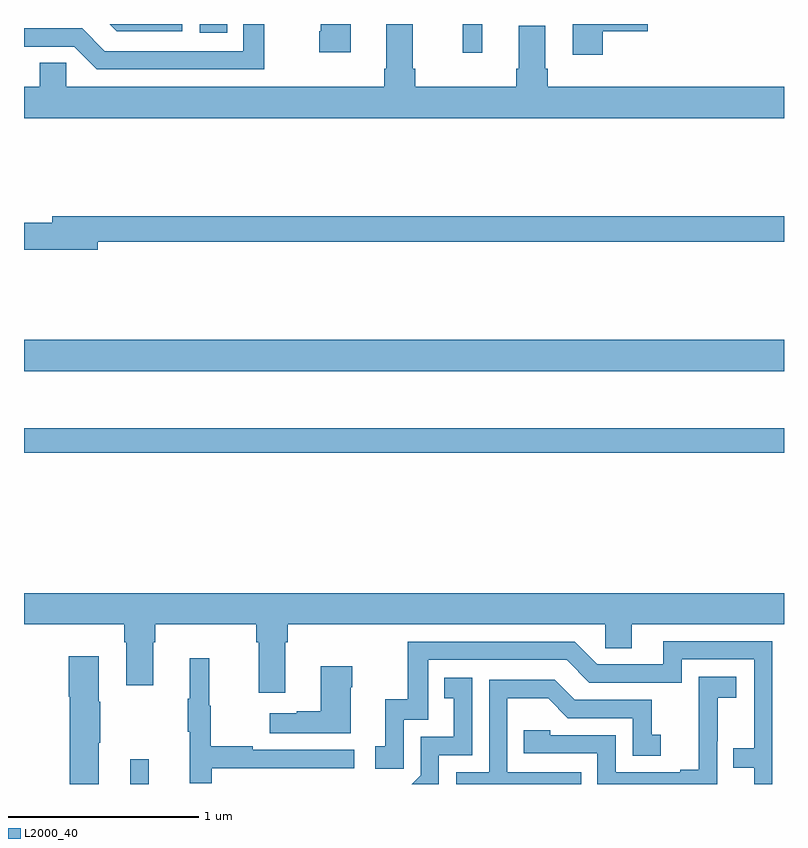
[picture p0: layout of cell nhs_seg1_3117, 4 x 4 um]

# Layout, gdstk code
import gdstk
lib = gdstk.Library(unit=1e-6, precision=1e-09)
def R(c, l, rs):  # rectangles x0, y0, x1, y1
    for r in rs: c.add(gdstk.rectangle(r[:2], r[2:], *l))
def P(c, l, *ps):  # polygons
    for p in ps: c.add(gdstk.Polygon(p, *l))
L2000_40 = (2000, 40)

nhs_seg1_3117 = lib.new_cell('nhs_seg1_3117')
R(nhs_seg1_3117, L2000_40, [(279.56,576.199,279.657,576.328), (279,577.942,283,578.071), (279,578.372,283,578.536), (281.308,580.047,281.411,580.199), (279.924,580.152,280.07,580.199)])
P(nhs_seg1_3117, L2000_40, [(283,579.868),(281.756,579.868),(281.756,579.964),(281.743,579.964),(281.743,580.189),(281.603,580.189),(281.603,579.964),(281.591,579.964),(281.591,579.868),(281.06,579.868),(281.06,579.964),(281.047,579.964),(281.047,580.199),(280.907,580.199),(280.907,579.964),(280.895,579.964),(280.895,579.868),(279.222,579.868),(279.222,579.995),(279.083,579.995),(279.083,579.868),(279,579.868),(279,579.704),(283,579.704)],
  [(280.72,580.199),(280.562,580.199),(280.562,580.162),(280.555,580.162),(280.555,580.05),(280.72,580.05)],
  [(280.264,580.199),(280.155,580.199),(280.155,580.056),(279.426,580.056),(279.306,580.176),(279,580.176),(279,580.08),(279.264,580.08),(279.384,579.96),(280.264,579.96)],
  [(279.834,580.199),(279.45,580.199),(279.488,580.161),(279.834,580.161)],
  [(282.047,580.162),(282.283,580.162),(282.283,580.199),(281.888,580.199),(281.888,580.038),(282.047,580.038)],
  [(279.388,579.052),(283,579.052),(283,579.188),(279.149,579.188),(279.149,579.152),(279,579.152),(279,579.01),(279.388,579.01)],
  [(280.375,576.944),(280.388,576.944),(280.388,577.04),(282.06,577.04),(282.06,576.913),(282.199,576.913),(282.199,577.04),(283,577.04),(283,577.204),(279,577.204),(279,577.04),(279.527,577.04),(279.527,576.944),(279.539,576.944),(279.539,576.72),(279.679,576.72),(279.679,576.944),(279.692,576.944),(279.692,577.04),(280.223,577.04),(280.223,576.944),(280.235,576.944),(280.235,576.678),(280.375,576.678)],
  [(282.939,576.951),(282.365,576.951),(282.365,576.828),(282.018,576.828),(281.898,576.948),(281.019,576.948),(281.019,576.646),(280.901,576.646),(280.901,576.399),(280.848,576.399),(280.848,576.279),(280.998,576.279),(280.998,576.537),(281.127,576.537),(281.127,576.852),(281.856,576.852),(281.976,576.732),(282.462,576.732),(282.462,576.855),(282.843,576.855),(282.843,576.386),(282.733,576.386),(282.733,576.285),(282.843,576.285),(282.843,576.199),(282.939,576.199)],
  [(279.394,576.415),(279.402,576.415),(279.402,576.632),(279.394,576.632),(279.394,576.871),(279.236,576.871),(279.236,576.658),(279.241,576.658),(279.241,576.199),(279.394,576.199)],
  [(279.989,576.282),(280.738,576.282),(280.738,576.378),(280.205,576.378),(280.205,576.398),(279.982,576.398),(279.982,576.612),(279.974,576.612),(279.974,576.862),(279.872,576.862),(279.872,576.649),(279.861,576.649),(279.861,576.475),(279.872,576.475),(279.872,576.204),(279.989,576.204)],
  [(280.72,576.707),(280.728,576.707),(280.728,576.82),(280.562,576.82),(280.562,576.581),(280.436,576.581),(280.436,576.571),(280.293,576.571),(280.293,576.467),(280.72,576.467)],
  [(282.648,576.425),(282.65,576.425),(282.65,576.653),(282.748,576.653),(282.748,576.763),(282.55,576.763),(282.55,576.557),(282.551,576.557),(282.551,576.274),(282.455,576.274),(282.455,576.261),(282.114,576.261),(282.114,576.456),(281.769,576.456),(281.769,576.483),(281.629,576.483),(281.629,576.36),(282.018,576.36),(282.018,576.199),(282.648,576.199)],
  [(281.184,576.351),(281.358,576.351),(281.358,576.757),(281.212,576.757),(281.212,576.651),(281.261,576.651),(281.261,576.447),(281.088,576.447),(281.088,576.246),(281.041,576.199),(281.184,576.199)],
  [(281.933,576.261),(281.544,576.261),(281.544,576.65),(281.758,576.65),(281.862,576.546),(282.204,576.546),(282.204,576.348),(282.352,576.348),(282.352,576.457),(282.303,576.457),(282.303,576.642),(281.899,576.642),(281.794,576.747),(281.448,576.747),(281.448,576.261),(281.274,576.261),(281.274,576.199),(281.933,576.199)])

lib.write_gds('nhs_seg1_3117.gds')
